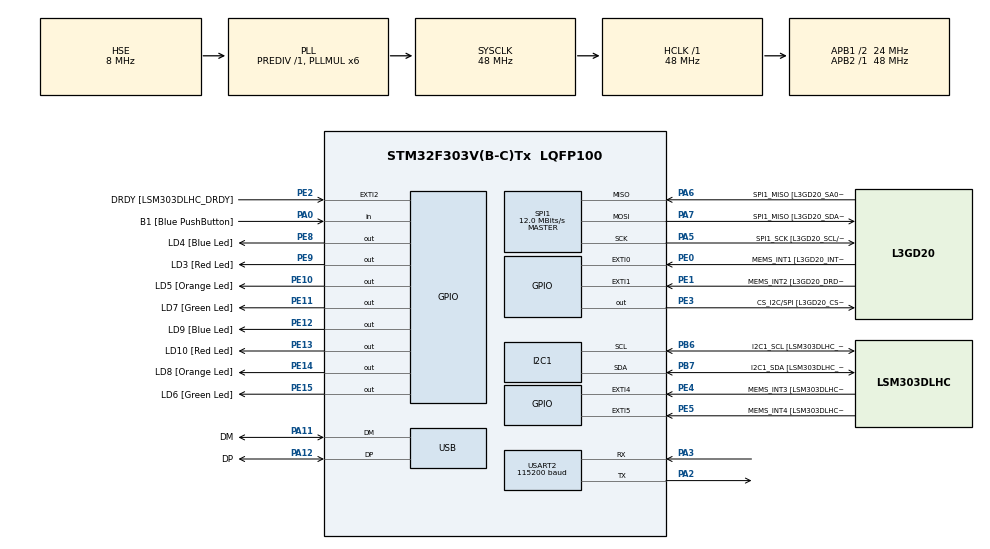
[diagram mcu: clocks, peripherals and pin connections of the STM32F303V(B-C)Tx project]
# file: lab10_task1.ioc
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I2C1.Timing=0x2000090E
I2C1.Timing-I2C=0x2000090E
Mcu.Family=STM32F3
Mcu.Name=STM32F303V(B-C)Tx
Mcu.Package=LQFP100
NVIC.PriorityGroup=NVIC_PRIORITYGROUP_0
PA0.GPIO_Label=B1 [Blue PushButton]
PA0.Signal=GPIO_Input
PA11.GPIO_Label=DM
PA11.Mode=Device
PA11.Signal=USB_DM
PA12.GPIO_Label=DP
PA12.Mode=Device
PA12.Signal=USB_DP
PA13.GPIO_Label=SWDIO
PA13.Mode=Serial_Wire
PA13.Signal=SYS_JTMS-SWDIO
PA14.GPIO_Label=SWCLK
PA14.Mode=Serial_Wire
PA14.Signal=SYS_JTCK-SWCLK
PA2.Mode=Asynchronous
PA2.Signal=USART2_TX
PA3.Mode=Asynchronous
PA3.Signal=USART2_RX
PA5.GPIO_Label=SPI1_SCK [L3GD20_SCL/SPC]
PA5.Mode=Full_Duplex_Master
PA5.Signal=SPI1_SCK
PA6.GPIO_Label=SPI1_MISO [L3GD20_SA0/SDO]
PA6.Mode=Full_Duplex_Master
PA6.Signal=SPI1_MISO
PA7.GPIO_Label=SPI1_MISO [L3GD20_SDA/SDI/SDO]
PA7.Mode=Full_Duplex_Master
PA7.Signal=SPI1_MOSI
PB3.GPIO_Label=SWO
PB3.Signal=SYS_JTDO-TRACESWO
PB6.GPIO_Label=I2C1_SCL [LSM303DLHC_SCL]
PB6.GPIO_Pu=GPIO_PULLUP
PB6.Mode=I2C
PB6.Signal=I2C1_SCL
PB7.GPIO_Label=I2C1_SDA [LSM303DLHC_SDA]
PB7.GPIO_Pu=GPIO_PULLUP
PB7.Mode=I2C
PB7.Signal=I2C1_SDA
PC14-OSC32_IN.GPIO_Label=OSC32_IN
PC14-OSC32_IN.Signal=RCC_OSC32_IN
PC15-OSC32_OUT.GPIO_Label=OSC32_OUT
PC15-OSC32_OUT.Signal=RCC_OSC32_OUT
PE0.GPIO_Label=MEMS_INT1 [L3GD20_INT1]
PE0.GPIO_ModeDefaultEXTI=GPIO_MODE_EVT_RISING
PE0.Signal=GPXTI0
PE1.GPIO_Label=MEMS_INT2 [L3GD20_DRDY/INT2]
PE1.GPIO_ModeDefaultEXTI=GPIO_MODE_EVT_RISING
PE1.Signal=GPXTI1
PE10.GPIO_Label=LD5 [Orange Led]
PE10.Signal=GPIO_Output
PE11.GPIO_Label=LD7 [Green Led]
PE11.Signal=GPIO_Output
PE12.GPIO_Label=LD9 [Blue Led]
PE12.Signal=GPIO_Output
PE13.GPIO_Label=LD10 [Red Led]
PE13.Signal=GPIO_Output
PE14.GPIO_Label=LD8 [Orange Led]
PE14.Signal=GPIO_Output
PE15.GPIO_Label=LD6 [Green Led]
PE15.Signal=GPIO_Output
PE2.GPIO_Label=DRDY [LSM303DLHC_DRDY]
PE2.GPIO_ModeDefaultEXTI=GPIO_MODE_EVT_RISING
PE2.Signal=GPXTI2
PE3.GPIO_Label=CS_I2C/SPI [L3GD20_CS_I2C/SPI]
PE3.Signal=GPIO_Output
PE4.GPIO_Label=MEMS_INT3 [LSM303DLHC_INT1]
PE4.GPIO_ModeDefaultEXTI=GPIO_MODE_EVT_RISING
PE4.Signal=GPXTI4
PE5.GPIO_Label=MEMS_INT4 [LSM303DLHC_INT2]
PE5.GPIO_ModeDefaultEXTI=GPIO_MODE_EVT_RISING
PE5.Signal=GPXTI5
PE8.GPIO_Label=LD4 [Blue Led]
PE8.Signal=GPIO_Output
PE9.GPIO_Label=LD3 [Red Led]
PE9.Signal=GPIO_Output
PF0-OSC_IN.GPIO_Label=OSC_IN
PF0-OSC_IN.Mode=HSE-External-Clock-Source
PF0-OSC_IN.Signal=RCC_OSC_IN
PF1-OSC_OUT.GPIO_Label=OSC_OUT
PF1-OSC_OUT.Signal=RCC_OSC_OUT
ProjectManager.HeapSize=0x200
ProjectManager.StackSize=0x400
ProjectManager.TargetToolchain=CMake
RCC.AHBFreq_Value=48000000
RCC.APB1CLKDivider=RCC_HCLK_DIV2
RCC.APB1Freq_Value=24000000
RCC.APB1TimFreq_Value=48000000
RCC.APB2Freq_Value=48000000
RCC.APB2TimFreq_Value=48000000
RCC.CortexFreq_Value=48000000
RCC.HCLKFreq_Value=48000000
RCC.HSE_VALUE=8000000
RCC.HSI_VALUE=8000000
RCC.LSE_VALUE=32768
RCC.PLLMUL=RCC_PLL_MUL6
RCC.SYSCLKFreq_VALUE=48000000
RCC.SYSCLKSourceVirtual=RCC_SYSCLKSOURCE_PLLCLK
RCC.USBFreq_Value=48000000
SPI1.BaudRatePrescaler=SPI_BAUDRATEPRESCALER_4
SPI1.BaudRatePrescaler-Full_Duplex_Master=SPI_BAUDRATEPRESCALER_2
SPI1.CalculateBaudRate=12.0 MBits/s
SPI1.CalculateBaudRate-Full_Duplex_Master=24.0 MBits/s
SPI1.Direction=SPI_DIRECTION_2LINES
SPI1.Mode=SPI_MODE_MASTER
SPI1.Mode-Full_Duplex_Master=SPI_MODE_MASTER
SPI1.VirtualType=VM_MASTER
USART2.BaudRate=115200
USART2.VirtualMode-Asynchronous=VM_ASYNC
board=STM32F3DISCOVERY

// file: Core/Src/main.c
/* USER CODE BEGIN Header */
/**
  ******************************************************************************
  * @file           : main.c
  * @brief          : Main program body
  ******************************************************************************
  * @attention
  *
  * Copyright (c) 2026 STMicroelectronics.
  * All rights reserved.
  *
  * This software is licensed under terms that can be found in the LICENSE file
  * in the root directory of this software component.
  * If no LICENSE file comes with this software, it is provided AS-IS.
  *
  ******************************************************************************
  */
/* USER CODE END Header */
#include "main.h"
#include <string.h>
#include <stdio.h>
#include <stdarg.h>
#include <stdlib.h>

I2C_HandleTypeDef hi2c1;

SPI_HandleTypeDef hspi1;

UART_HandleTypeDef huart2;

PCD_HandleTypeDef hpcd_USB_FS;

void SystemClock_Config(void);
static void MX_GPIO_Init(void);
static void MX_I2C1_Init(void);
static void MX_SPI1_Init(void);
static void MX_USB_PCD_Init(void);
static void MX_USART2_UART_Init(void);
/* USER CODE BEGIN PFP */

void myPrintf(const char* fmt, ...) {
    char buffer[128];
    va_list args;
    va_start(args, fmt);
    int a = vsnprintf(buffer, sizeof(buffer), fmt, args);
    va_end(args);
    if (a > 0) {
        HAL_UART_Transmit(&huart2, (uint8_t*)buffer, a, HAL_MAX_DELAY);
    }
}

/* USER CODE END PFP */

int main(void)
{

  /* MCU Configuration--------------------------------------------------------*/

  /* Reset of all peripherals, Initializes the Flash interface and the Systick. */
  HAL_Init();

  /* Configure the system clock */
  SystemClock_Config();

  /* Initialize all configured peripherals */
  MX_GPIO_Init();
  MX_I2C1_Init();
  MX_SPI1_Init();
  MX_USB_PCD_Init();
  MX_USART2_UART_Init();

  /* Infinite loop */
  /* USER CODE BEGIN WHILE */
int count = 10;
int *calloc_buffer = NULL;
int *malloc_buffer = NULL;

/* allocate both buffers first */
calloc_buffer = (int *)calloc(count, sizeof(int));
malloc_buffer = (int *)malloc(count * sizeof(int));

myPrintf("Pointer after calloc: %p\r\n", (void *)calloc_buffer);
myPrintf("Pointer after malloc: %p\r\n", (void *)malloc_buffer);

/* check allocation */
if ((calloc_buffer != NULL) && (malloc_buffer != NULL))
{
    myPrintf("Both allocations successful\r\n");

    /* print calloc values before initialization */
    myPrintf("calloc buffer before filling: ");
    for (int i = 0; i < count; i++)
    {
        myPrintf("%d ", calloc_buffer[i]);
    }
    myPrintf("\r\n");

    /* fill both buffers */
    for (int i = 0; i < count; i++)
    {
        calloc_buffer[i] = i + 1;
        malloc_buffer[i] = (i + 1) * 2;
    }

    /* print both buffers together */
    myPrintf("calloc buffer after filling: ");
    for (int i = 0; i < count; i++)
    {
        myPrintf("%d ", calloc_buffer[i]);
    }
    myPrintf("\r\n");

    myPrintf("malloc buffer after filling: ");
    for (int i = 0; i < count; i++)
    {
        myPrintf("%d ", malloc_buffer[i]);
    }
    myPrintf("\r\n");
}
else
{
    myPrintf("Memory allocation failed\r\n");
}

/* free both at the end */
free(calloc_buffer);
free(malloc_buffer);

calloc_buffer = NULL;
malloc_buffer = NULL;

myPrintf("Pointer after free (calloc): %p\r\n", (void *)calloc_buffer);
myPrintf("Pointer after free (malloc): %p\r\n", (void *)malloc_buffer);
  {
    /* code */
  }

  while (1)
  {
    /* USER CODE END WHILE */

  }
}

void SystemClock_Config(void)
{
  RCC_OscInitTypeDef RCC_OscInitStruct = {0};
  RCC_ClkInitTypeDef RCC_ClkInitStruct = {0};
  RCC_PeriphCLKInitTypeDef PeriphClkInit = {0};

  /** Initializes the RCC Oscillators according to the specified parameters
  * in the RCC_OscInitTypeDef structure.
  */
  RCC_OscInitStruct.OscillatorType = RCC_OSCILLATORTYPE_HSI|RCC_OSCILLATORTYPE_HSE;
  RCC_OscInitStruct.HSEState = RCC_HSE_BYPASS;
  RCC_OscInitStruct.HSEPredivValue = RCC_HSE_PREDIV_DIV1;
  RCC_OscInitStruct.HSIState = RCC_HSI_ON;
  RCC_OscInitStruct.HSICalibrationValue = RCC_HSICALIBRATION_DEFAULT;
  RCC_OscInitStruct.PLL.PLLState = RCC_PLL_ON;
  RCC_OscInitStruct.PLL.PLLSource = RCC_PLLSOURCE_HSE;
  RCC_OscInitStruct.PLL.PLLMUL = RCC_PLL_MUL6;
  if (HAL_RCC_OscConfig(&RCC_OscInitStruct) != HAL_OK)
  {
    Error_Handler();
  }

  /** Initializes the CPU, AHB and APB buses clocks
  */
  RCC_ClkInitStruct.ClockType = RCC_CLOCKTYPE_HCLK|RCC_CLOCKTYPE_SYSCLK
                              |RCC_CLOCKTYPE_PCLK1|RCC_CLOCKTYPE_PCLK2;
  RCC_ClkInitStruct.SYSCLKSource = RCC_SYSCLKSOURCE_PLLCLK;
  RCC_ClkInitStruct.AHBCLKDivider = RCC_SYSCLK_DIV1;
  RCC_ClkInitStruct.APB1CLKDivider = RCC_HCLK_DIV2;
  RCC_ClkInitStruct.APB2CLKDivider = RCC_HCLK_DIV1;

  if (HAL_RCC_ClockConfig(&RCC_ClkInitStruct, FLASH_LATENCY_1) != HAL_OK)
  {
    Error_Handler();
  }
  PeriphClkInit.PeriphClockSelection = RCC_PERIPHCLK_USB|RCC_PERIPHCLK_USART2
                              |RCC_PERIPHCLK_I2C1;
  PeriphClkInit.Usart2ClockSelection = RCC_USART2CLKSOURCE_PCLK1;
  PeriphClkInit.I2c1ClockSelection = RCC_I2C1CLKSOURCE_HSI;
  PeriphClkInit.USBClockSelection = RCC_USBCLKSOURCE_PLL;
  if (HAL_RCCEx_PeriphCLKConfig(&PeriphClkInit) != HAL_OK)
  {
    Error_Handler();
  }
}

static void MX_I2C1_Init(void)
{

  hi2c1.Instance = I2C1;
  hi2c1.Init.Timing = 0x2000090E;
  hi2c1.Init.OwnAddress1 = 0;
  hi2c1.Init.AddressingMode = I2C_ADDRESSINGMODE_7BIT;
  hi2c1.Init.DualAddressMode = I2C_DUALADDRESS_DISABLE;
  hi2c1.Init.OwnAddress2 = 0;
  hi2c1.Init.OwnAddress2Masks = I2C_OA2_NOMASK;
  hi2c1.Init.GeneralCallMode = I2C_GENERALCALL_DISABLE;
  hi2c1.Init.NoStretchMode = I2C_NOSTRETCH_DISABLE;
  if (HAL_I2C_Init(&hi2c1) != HAL_OK)
  {
    Error_Handler();
  }

  /** Configure Analogue filter
  */
  if (HAL_I2CEx_ConfigAnalogFilter(&hi2c1, I2C_ANALOGFILTER_ENABLE) != HAL_OK)
  {
    Error_Handler();
  }

  /** Configure Digital filter
  */
  if (HAL_I2CEx_ConfigDigitalFilter(&hi2c1, 0) != HAL_OK)
  {
    Error_Handler();
  }

}

static void MX_SPI1_Init(void)
{

  /* SPI1 parameter configuration*/
  hspi1.Instance = SPI1;
  hspi1.Init.Mode = SPI_MODE_MASTER;
  hspi1.Init.Direction = SPI_DIRECTION_2LINES;
  hspi1.Init.DataSize = SPI_DATASIZE_4BIT;
  hspi1.Init.CLKPolarity = SPI_POLARITY_LOW;
  hspi1.Init.CLKPhase = SPI_PHASE_1EDGE;
  hspi1.Init.NSS = SPI_NSS_SOFT;
  hspi1.Init.BaudRatePrescaler = SPI_BAUDRATEPRESCALER_4;
  hspi1.Init.FirstBit = SPI_FIRSTBIT_MSB;
  hspi1.Init.TIMode = SPI_TIMODE_DISABLE;
  hspi1.Init.CRCCalculation = SPI_CRCCALCULATION_DISABLE;
  hspi1.Init.CRCPolynomial = 7;
  hspi1.Init.CRCLength = SPI_CRC_LENGTH_DATASIZE;
  hspi1.Init.NSSPMode = SPI_NSS_PULSE_ENABLE;
  if (HAL_SPI_Init(&hspi1) != HAL_OK)
  {
    Error_Handler();
  }

}

static void MX_USART2_UART_Init(void)
{

  huart2.Instance = USART2;
  huart2.Init.BaudRate = 115200;
  huart2.Init.WordLength = UART_WORDLENGTH_8B;
  huart2.Init.StopBits = UART_STOPBITS_1;
  huart2.Init.Parity = UART_PARITY_NONE;
  huart2.Init.Mode = UART_MODE_TX_RX;
  huart2.Init.HwFlowCtl = UART_HWCONTROL_NONE;
  huart2.Init.OverSampling = UART_OVERSAMPLING_16;
  huart2.Init.OneBitSampling = UART_ONE_BIT_SAMPLE_DISABLE;
  huart2.AdvancedInit.AdvFeatureInit = UART_ADVFEATURE_NO_INIT;
  if (HAL_UART_Init(&huart2) != HAL_OK)
  {
    Error_Handler();
  }

}

static void MX_USB_PCD_Init(void)
{

  hpcd_USB_FS.Instance = USB;
  hpcd_USB_FS.Init.dev_endpoints = 8;
  hpcd_USB_FS.Init.speed = PCD_SPEED_FULL;
  hpcd_USB_FS.Init.phy_itface = PCD_PHY_EMBEDDED;
  hpcd_USB_FS.Init.low_power_enable = DISABLE;
  hpcd_USB_FS.Init.battery_charging_enable = DISABLE;
  if (HAL_PCD_Init(&hpcd_USB_FS) != HAL_OK)
  {
    Error_Handler();
  }

}

static void MX_GPIO_Init(void)
{
  GPIO_InitTypeDef GPIO_InitStruct = {0};

  /* GPIO Ports Clock Enable */
  __HAL_RCC_GPIOE_CLK_ENABLE();
  __HAL_RCC_GPIOC_CLK_ENABLE();
  __HAL_RCC_GPIOF_CLK_ENABLE();
  __HAL_RCC_GPIOA_CLK_ENABLE();
  __HAL_RCC_GPIOB_CLK_ENABLE();

  /*Configure GPIO pin Output Level */
  HAL_GPIO_WritePin(GPIOE, CS_I2C_SPI_Pin|LD4_Pin|LD3_Pin|LD5_Pin
                          |LD7_Pin|LD9_Pin|LD10_Pin|LD8_Pin
                          |LD6_Pin, GPIO_PIN_RESET);

  /*Configure GPIO pins : DRDY_Pin MEMS_INT3_Pin MEMS_INT4_Pin MEMS_INT1_Pin
                           MEMS_INT2_Pin */
  GPIO_InitStruct.Pin = DRDY_Pin|MEMS_INT3_Pin|MEMS_INT4_Pin|MEMS_INT1_Pin
                          |MEMS_INT2_Pin;
  GPIO_InitStruct.Mode = GPIO_MODE_EVT_RISING;
  GPIO_InitStruct.Pull = GPIO_NOPULL;
  HAL_GPIO_Init(GPIOE, &GPIO_InitStruct);

  /*Configure GPIO pins : CS_I2C_SPI_Pin LD4_Pin LD3_Pin LD5_Pin
                           LD7_Pin LD9_Pin LD10_Pin LD8_Pin
                           LD6_Pin */
  GPIO_InitStruct.Pin = CS_I2C_SPI_Pin|LD4_Pin|LD3_Pin|LD5_Pin
                          |LD7_Pin|LD9_Pin|LD10_Pin|LD8_Pin
                          |LD6_Pin;
  GPIO_InitStruct.Mode = GPIO_MODE_OUTPUT_PP;
  GPIO_InitStruct.Pull = GPIO_NOPULL;
  GPIO_InitStruct.Speed = GPIO_SPEED_FREQ_LOW;
  HAL_GPIO_Init(GPIOE, &GPIO_InitStruct);

  /*Configure GPIO pin : B1_Pin */
  GPIO_InitStruct.Pin = B1_Pin;
  GPIO_InitStruct.Mode = GPIO_MODE_INPUT;
  GPIO_InitStruct.Pull = GPIO_NOPULL;
  HAL_GPIO_Init(B1_GPIO_Port, &GPIO_InitStruct);

}

void Error_Handler(void)
{
  __disable_irq();
  while (1)
  {
  }
}
